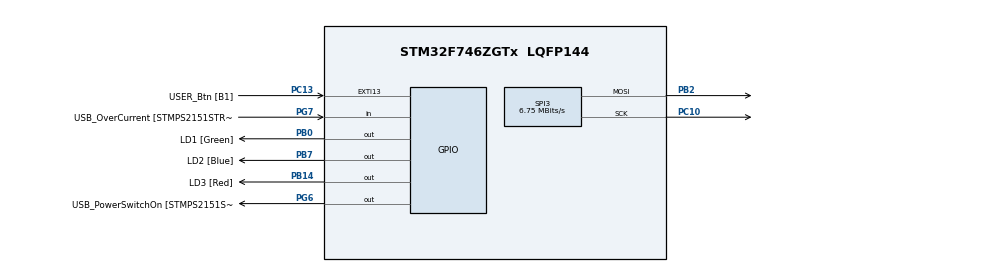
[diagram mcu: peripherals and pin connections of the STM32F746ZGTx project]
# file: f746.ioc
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Mcu.Family=STM32F7
Dma.SPI3_TX.0.FIFOMode=DMA_FIFOMODE_DISABLE
Dma.SPI3_TX.0.Priority=DMA_PRIORITY_LOW
Dma.SPI3_TX.0.MemInc=DMA_MINC_ENABLE
RCC.CortexFreq_Value=216000000
SPI3.Direction=SPI_DIRECTION_2LINES
PC10.GPIO_PuPd=GPIO_NOPULL
SPI3.VirtualType=VM_MASTER
PG6.Signal=GPIO_Output
PC10.Signal=SPI3_SCK
PB14.GPIO_Label=LD3 [Red]
PG6.GPIO_Label=USB_PowerSwitchOn [STMPS2151STR_EN]
PA14.GPIO_Label=TCK
RCC.SYSCLKSourceVirtual=RCC_SYSCLKSOURCE_PLLCLK
CORTEX_M7.PREFETCH_ENABLE=1
PB0.GPIO_Label=LD1 [Green]
Dma.SPI3_TX.0.PeriphDataAlignment=DMA_PDATAALIGN_BYTE
PC13.GPIO_Label=USER_Btn [B1]
PB13.GPIO_Label=RMII_TXD1 [LAN8742A-CZ-TR_TXD1]
PB13.Signal=ETH_TXD1
PG13.Signal=ETH_TXD0
PG11.Signal=ETH_TX_EN
RCC.SYSCLKSource=RCC_SYSCLKSOURCE_PLLCLK
ProjectManager.StackSize=0x4000
PA12.Signal=USB_OTG_FS_DP
SPI3.CLKPolarity=SPI_POLARITY_HIGH
PH0/OSC_IN.Mode=HSE-External-Oscillator
RCC.HCLKFreq_Value=216000000
RCC.APB2TimFreq_Value=216000000
PH1/OSC_OUT.Signal=RCC_OSC_OUT
PD8.Signal=USART3_TX
Dma.SPI3_TX.0.Direction=DMA_MEMORY_TO_PERIPH
RCC.AHBFreq_Value=216000000
SPI3.DataSize=SPI_DATASIZE_8BIT
RCC.HSE_VALUE=8000000
PB2.Signal=SPI3_MOSI
RCC.PLLMUL=RCC_PLL_MUL9
PC4.GPIO_Label=RMII_RXD0 [LAN8742A-CZ-TR_RXD0]
PA10.GPIO_Label=USB_ID
PB7.Signal=GPIO_Output
PA8.Signal=USB_OTG_FS_SOF
VP_FREERTOS_VS_CMSIS_V1.Mode=CMSIS_V1
PH1/OSC_OUT.Mode=HSE-External-Oscillator
PB2.GPIO_PuPd=GPIO_NOPULL
Dma.SPI3_TX.0.MemDataAlignment=DMA_MDATAALIGN_BYTE
PB7.GPIO_Label=LD2 [Blue]
Mcu.Package=LQFP144
NVIC.TimeBase=TIM7_IRQn
SPI3.Mode=SPI_MODE_MASTER
PC14/OSC32_IN.Signal=RCC_OSC32_IN
PA2.GPIO_Label=RMII_MDIO [LAN8742A-CZ-TR_MDIO]
NVIC.TimeBaseIP=TIM7
PA10.Signal=USB_OTG_FS_ID
RCC.APB2CLKDivider=RCC_HCLK_DIV2
RCC.APB1TimFreq_Value=108000000
PG11.GPIO_Label=RMII_TX_EN [LAN8742A-CZ-TR_TXEN]
PC5.Signal=ETH_RXD1
Dma.Request0=SPI3_TX
NVIC.TIM7_IRQn=true\:0\:0\:false\:false\:true\:false\:false\:true
PB3.GPIO_Label=SW0
RCC.PLLSourceVirtual=RCC_PLLSOURCE_HSE
CORTEX_M7.CPU_ICache=Enabled
FREERTOS.Tasks01=defaultTask,0,2048,StartDefaultTask,Default,NULL,Dynamic,NULL,NULL
PG7.Signal=GPIO_Input
PD9.GPIO_Label=STLK_TX [STM32F103CBT6_PA2]
PA9.GPIO_Label=USB_VBUS
PC13.Signal=GPXTI13
VP_SYS_VS_tim7.Mode=TIM7
PC10.Mode=TX_Only_Simplex_Unidirect_Master
PC4.Signal=ETH_RXD0
PA11.GPIO_Label=USB_DM
PD9.Signal=USART3_RX
RCC.APB1CLKDivider=RCC_HCLK_DIV4
PG13.GPIO_Label=RMII_TXD0 [LAN8742A-CZ-TR_TXD0]
PA12.GPIO_Label=USB_DP
PD8.GPIO_Label=STLK_RX [STM32F103CBT6_PA3]
PA13.Signal=SYS_JTMS-SWDIO
PA8.GPIO_Label=USB_SOF [TP1]
ProjectManager.TargetToolchain=STM32CubeIDE
NVIC.DMA1_Stream5_IRQn=true\:5\:0\:false\:false\:true\:true\:false\:true
CORTEX_M7.ART_ACCLERATOR_ENABLE=1
PA9.Signal=USB_OTG_FS_VBUS
Dma.SPI3_TX.0.PeriphInc=DMA_PINC_DISABLE
RCC.USBFreq_Value=48000000
RCC.LSE_VALUE=32768
PA1.Signal=ETH_REF_CLK
SPI3.FirstBit=SPI_FIRSTBIT_MSB
PB14.Signal=GPIO_Output
board=NUCLEO-F746ZG
SPI3.CLKPhase=SPI_PHASE_2EDGE
RCC.VCOOutputFreq_Value=432000000
PH0/OSC_IN.Signal=RCC_OSC_IN
RCC.APB2Freq_Value=108000000
SPI3.CalculateBaudRate=6.75 MBits/s
RCC.PRESCALERUSB=RCC_USBCLKSOURCE_PLL_DIV1_5
PG7.GPIO_Label=USB_OverCurrent [STMPS2151STR_FAULT]
SPI3.BaudRatePrescaler=SPI_BAUDRATEPRESCALER_8
PA1.GPIO_Label=RMII_REF_CLK [LAN8742A-CZ-TR_REFCLK0]
PC1.GPIO_Label=RMII_MDC [LAN8742A-CZ-TR_MDC]
Dma.SPI3_TX.0.Instance=DMA1_Stream5
Mcu.Name=STM32F746ZGTx
PA2.Signal=ETH_MDIO
PA13.GPIO_Label=TMS
RCC.48MHZClocksFreq_Value=24000000
PB3.Signal=SYS_JTDO-SWO
RCC.SYSCLKFreq_VALUE=216000000
PA7.GPIO_Label=RMII_CRS_DV [LAN8742A-CZ-TR_CRS_DV]
Dma.SPI3_TX.0.Mode=DMA_NORMAL
PC5.GPIO_Label=RMII_RXD1 [LAN8742A-CZ-TR_RXD1]
PB2.Mode=TX_Only_Simplex_Unidirect_Master
PA11.Signal=USB_OTG_FS_DM
PA14.Signal=SYS_JTCK-SWCLK
ProjectManager.HeapSize=0x2000
RCC.HSI_VALUE=16000000
PH0/OSC_IN.GPIO_Label=MCO [STM32F103CBT6_PA8]
RCC.PLLQ=9
NVIC.PriorityGroup=NVIC_PRIORITYGROUP_4
RCC.PLLM=4
RCC.PLLN=216
PC15/OSC32_OUT.Signal=RCC_OSC32_OUT
CORTEX_M7.CPU_DCache=Enabled
RCC.APB1Freq_Value=54000000
PB0.Signal=GPIO_Output
PC1.Signal=ETH_MDC
PA7.Signal=ETH_CRS_DV

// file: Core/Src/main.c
/* USER CODE BEGIN Header */
/**
 ******************************************************************************
 * @file           : main.c
 * @brief          : Main program body
 ******************************************************************************
 * @attention
 *
 * <h2><center>&copy; Copyright (c) 2021 STMicroelectronics.
 * All rights reserved.</center></h2>
 *
 * This software component is licensed by ST under BSD 3-Clause license,
 * the "License"; You may not use this file except in compliance with the
 * License. You may obtain a copy of the License at:
 *                        opensource.org/licenses/BSD-3-Clause
 *
 ******************************************************************************
 */
/* USER CODE END Header */
#include "main.h"
#include "cmsis_os.h"

/* USER CODE BEGIN Includes */
#include <string.h>
/* USER CODE END Includes */

osThreadId defaultTaskHandle;

void SystemClock_Config(void);
static void MX_GPIO_Init(void);
static void MX_DMA_Init(void);
static void MX_SPI3_Init(void);
void StartDefaultTask(void const *argument);

int main(void)
{

    /* Enable I-Cache---------------------------------------------------------*/
    SCB_EnableICache();

    /* Enable D-Cache---------------------------------------------------------*/
    SCB_EnableDCache();

    /* MCU Configuration--------------------------------------------------------*/

    /* Reset of all peripherals, Initializes the Flash interface and the Systick. */
    HAL_Init();

    /* Configure the system clock */
    SystemClock_Config();

    /* Initialize all configured peripherals */
    MX_GPIO_Init();
    MX_DMA_Init();
    MX_SPI3_Init();

    /* Create the thread(s) */
    /* definition and creation of defaultTask */
    osThreadDef(defaultTask, StartDefaultTask, osPriorityNormal, 0, 2048);
    defaultTaskHandle = osThreadCreate(osThread(defaultTask), NULL);

    /* Start scheduler */
    osKernelStart();

    /* We should never get here as control is now taken by the scheduler */
    /* Infinite loop */
    while (1)
    {

    }
}

void SystemClock_Config(void)
{
    LL_FLASH_SetLatency(LL_FLASH_LATENCY_7);
    while (LL_FLASH_GetLatency() != LL_FLASH_LATENCY_7)
    {
    }
    LL_PWR_SetRegulVoltageScaling(LL_PWR_REGU_VOLTAGE_SCALE1);
    LL_PWR_EnableOverDriveMode();
    LL_RCC_HSE_Enable();

    /* Wait till HSE is ready */
    while (LL_RCC_HSE_IsReady() != 1)
    {
    }
    LL_RCC_PLL_ConfigDomain_SYS(LL_RCC_PLLSOURCE_HSE, LL_RCC_PLLM_DIV_4, 216, LL_RCC_PLLP_DIV_2);
    LL_RCC_PLL_Enable();

    /* Wait till PLL is ready */
    while (LL_RCC_PLL_IsReady() != 1)
    {
    }
    LL_RCC_SetAHBPrescaler(LL_RCC_SYSCLK_DIV_1);
    LL_RCC_SetAPB1Prescaler(LL_RCC_APB1_DIV_4);
    LL_RCC_SetAPB2Prescaler(LL_RCC_APB2_DIV_2);
    LL_RCC_SetSysClkSource(LL_RCC_SYS_CLKSOURCE_PLL);

    /* Wait till System clock is ready */
    while (LL_RCC_GetSysClkSource() != LL_RCC_SYS_CLKSOURCE_STATUS_PLL)
    {
    }
    LL_SetSystemCoreClock(216000000);

    /* Update the time base */
    if (HAL_InitTick(TICK_INT_PRIORITY) != HAL_OK)
    {
        Error_Handler();
    }
}

static void MX_SPI3_Init(void)
{

    LL_SPI_InitTypeDef SPI_InitStruct = {0};

    LL_GPIO_InitTypeDef GPIO_InitStruct = {0};

    /* Peripheral clock enable */
    LL_APB1_GRP1_EnableClock(LL_APB1_GRP1_PERIPH_SPI3);

    LL_AHB1_GRP1_EnableClock(LL_AHB1_GRP1_PERIPH_GPIOB);
    LL_AHB1_GRP1_EnableClock(LL_AHB1_GRP1_PERIPH_GPIOC);
    /**SPI3 GPIO Configuration
     PB2   ------> SPI3_MOSI
     PC10   ------> SPI3_SCK
     */
    GPIO_InitStruct.Pin = LL_GPIO_PIN_2;
    GPIO_InitStruct.Mode = LL_GPIO_MODE_ALTERNATE;
    GPIO_InitStruct.Speed = LL_GPIO_SPEED_FREQ_VERY_HIGH;
    GPIO_InitStruct.OutputType = LL_GPIO_OUTPUT_PUSHPULL;
    GPIO_InitStruct.Pull = LL_GPIO_PULL_NO;
    GPIO_InitStruct.Alternate = LL_GPIO_AF_7;
    LL_GPIO_Init(GPIOB, &GPIO_InitStruct);

    GPIO_InitStruct.Pin = LL_GPIO_PIN_10;
    GPIO_InitStruct.Mode = LL_GPIO_MODE_ALTERNATE;
    GPIO_InitStruct.Speed = LL_GPIO_SPEED_FREQ_VERY_HIGH;
    GPIO_InitStruct.OutputType = LL_GPIO_OUTPUT_PUSHPULL;
    GPIO_InitStruct.Pull = LL_GPIO_PULL_NO;
    GPIO_InitStruct.Alternate = LL_GPIO_AF_6;
    LL_GPIO_Init(GPIOC, &GPIO_InitStruct);

    /* SPI3 DMA Init */

    /* SPI3_TX Init */
    LL_DMA_SetChannelSelection(DMA1, LL_DMA_STREAM_5, LL_DMA_CHANNEL_0);

    LL_DMA_SetDataTransferDirection(DMA1, LL_DMA_STREAM_5, LL_DMA_DIRECTION_MEMORY_TO_PERIPH);

    LL_DMA_SetStreamPriorityLevel(DMA1, LL_DMA_STREAM_5, LL_DMA_PRIORITY_LOW);

    LL_DMA_SetMode(DMA1, LL_DMA_STREAM_5, LL_DMA_MODE_NORMAL);

    LL_DMA_SetPeriphIncMode(DMA1, LL_DMA_STREAM_5, LL_DMA_PERIPH_NOINCREMENT);

    LL_DMA_SetMemoryIncMode(DMA1, LL_DMA_STREAM_5, LL_DMA_MEMORY_INCREMENT);

    LL_DMA_SetPeriphSize(DMA1, LL_DMA_STREAM_5, LL_DMA_PDATAALIGN_BYTE);

    LL_DMA_SetMemorySize(DMA1, LL_DMA_STREAM_5, LL_DMA_MDATAALIGN_BYTE);

    LL_DMA_DisableFifoMode(DMA1, LL_DMA_STREAM_5);

    /* SPI3 parameter configuration*/
    SPI_InitStruct.TransferDirection = LL_SPI_FULL_DUPLEX;
    SPI_InitStruct.Mode = LL_SPI_MODE_MASTER;
    SPI_InitStruct.DataWidth = LL_SPI_DATAWIDTH_8BIT;
    SPI_InitStruct.ClockPolarity = LL_SPI_POLARITY_HIGH;
    SPI_InitStruct.ClockPhase = LL_SPI_PHASE_2EDGE;
    SPI_InitStruct.NSS = LL_SPI_NSS_SOFT;
    SPI_InitStruct.BaudRate = LL_SPI_BAUDRATEPRESCALER_DIV8;
    SPI_InitStruct.BitOrder = LL_SPI_MSB_FIRST;
    SPI_InitStruct.CRCCalculation = LL_SPI_CRCCALCULATION_DISABLE;
    SPI_InitStruct.CRCPoly = 7;
    LL_SPI_Init(SPI3, &SPI_InitStruct);
    LL_SPI_SetStandard(SPI3, LL_SPI_PROTOCOL_MOTOROLA);
    LL_SPI_DisableNSSPulseMgt(SPI3);
}

static void MX_DMA_Init(void)
{

    /* Init with LL driver */
    /* DMA controller clock enable */
    LL_AHB1_GRP1_EnableClock(LL_AHB1_GRP1_PERIPH_DMA1);

    /* DMA interrupt init */
    /* DMA1_Stream5_IRQn interrupt configuration */
    NVIC_SetPriority(DMA1_Stream5_IRQn, NVIC_EncodePriority(NVIC_GetPriorityGrouping(), 5, 0));
    NVIC_EnableIRQ(DMA1_Stream5_IRQn);
}

static void MX_GPIO_Init(void)
{
    LL_EXTI_InitTypeDef EXTI_InitStruct = {0};
    LL_GPIO_InitTypeDef GPIO_InitStruct = {0};

    /* GPIO Ports Clock Enable */
    LL_AHB1_GRP1_EnableClock(LL_AHB1_GRP1_PERIPH_GPIOC);
    LL_AHB1_GRP1_EnableClock(LL_AHB1_GRP1_PERIPH_GPIOH);
    LL_AHB1_GRP1_EnableClock(LL_AHB1_GRP1_PERIPH_GPIOA);
    LL_AHB1_GRP1_EnableClock(LL_AHB1_GRP1_PERIPH_GPIOB);
    LL_AHB1_GRP1_EnableClock(LL_AHB1_GRP1_PERIPH_GPIOD);
    LL_AHB1_GRP1_EnableClock(LL_AHB1_GRP1_PERIPH_GPIOG);

    /**/
    LL_GPIO_ResetOutputPin(LD1_GPIO_Port, LD1_Pin);

    /**/
    LL_GPIO_ResetOutputPin(LD3_GPIO_Port, LD3_Pin);

    /**/
    LL_GPIO_ResetOutputPin(USB_PowerSwitchOn_GPIO_Port, USB_PowerSwitchOn_Pin);

    /**/
    LL_GPIO_ResetOutputPin(LD2_GPIO_Port, LD2_Pin);

    /**/
    LL_SYSCFG_SetEXTISource(LL_SYSCFG_EXTI_PORTC, LL_SYSCFG_EXTI_LINE13);

    /**/
    EXTI_InitStruct.Line_0_31 = LL_EXTI_LINE_13;
    EXTI_InitStruct.LineCommand = ENABLE;
    EXTI_InitStruct.Mode = LL_EXTI_MODE_IT;
    EXTI_InitStruct.Trigger = LL_EXTI_TRIGGER_RISING;
    LL_EXTI_Init(&EXTI_InitStruct);

    /**/
    LL_GPIO_SetPinPull(USER_Btn_GPIO_Port, USER_Btn_Pin, LL_GPIO_PULL_NO);

    /**/
    LL_GPIO_SetPinMode(USER_Btn_GPIO_Port, USER_Btn_Pin, LL_GPIO_MODE_INPUT);

    /**/
    GPIO_InitStruct.Pin = RMII_MDC_Pin;
    GPIO_InitStruct.Mode = LL_GPIO_MODE_ALTERNATE;
    GPIO_InitStruct.Speed = LL_GPIO_SPEED_FREQ_VERY_HIGH;
    GPIO_InitStruct.OutputType = LL_GPIO_OUTPUT_PUSHPULL;
    GPIO_InitStruct.Pull = LL_GPIO_PULL_NO;
    GPIO_InitStruct.Alternate = LL_GPIO_AF_11;
    LL_GPIO_Init(RMII_MDC_GPIO_Port, &GPIO_InitStruct);

    /**/
    GPIO_InitStruct.Pin = RMII_REF_CLK_Pin;
    GPIO_InitStruct.Mode = LL_GPIO_MODE_ALTERNATE;
    GPIO_InitStruct.Speed = LL_GPIO_SPEED_FREQ_VERY_HIGH;
    GPIO_InitStruct.OutputType = LL_GPIO_OUTPUT_PUSHPULL;
    GPIO_InitStruct.Pull = LL_GPIO_PULL_NO;
    GPIO_InitStruct.Alternate = LL_GPIO_AF_11;
    LL_GPIO_Init(RMII_REF_CLK_GPIO_Port, &GPIO_InitStruct);

    /**/
    GPIO_InitStruct.Pin = RMII_MDIO_Pin;
    GPIO_InitStruct.Mode = LL_GPIO_MODE_ALTERNATE;
    GPIO_InitStruct.Speed = LL_GPIO_SPEED_FREQ_VERY_HIGH;
    GPIO_InitStruct.OutputType = LL_GPIO_OUTPUT_PUSHPULL;
    GPIO_InitStruct.Pull = LL_GPIO_PULL_NO;
    GPIO_InitStruct.Alternate = LL_GPIO_AF_11;
    LL_GPIO_Init(RMII_MDIO_GPIO_Port, &GPIO_InitStruct);

    /**/
    GPIO_InitStruct.Pin = RMII_CRS_DV_Pin;
    GPIO_InitStruct.Mode = LL_GPIO_MODE_ALTERNATE;
    GPIO_InitStruct.Speed = LL_GPIO_SPEED_FREQ_VERY_HIGH;
    GPIO_InitStruct.OutputType = LL_GPIO_OUTPUT_PUSHPULL;
    GPIO_InitStruct.Pull = LL_GPIO_PULL_NO;
    GPIO_InitStruct.Alternate = LL_GPIO_AF_11;
    LL_GPIO_Init(RMII_CRS_DV_GPIO_Port, &GPIO_InitStruct);

    /**/
    GPIO_InitStruct.Pin = RMII_RXD0_Pin;
    GPIO_InitStruct.Mode = LL_GPIO_MODE_ALTERNATE;
    GPIO_InitStruct.Speed = LL_GPIO_SPEED_FREQ_VERY_HIGH;
    GPIO_InitStruct.OutputType = LL_GPIO_OUTPUT_PUSHPULL;
    GPIO_InitStruct.Pull = LL_GPIO_PULL_NO;
    GPIO_InitStruct.Alternate = LL_GPIO_AF_11;
    LL_GPIO_Init(RMII_RXD0_GPIO_Port, &GPIO_InitStruct);

    /**/
    GPIO_InitStruct.Pin = RMII_RXD1_Pin;
    GPIO_InitStruct.Mode = LL_GPIO_MODE_ALTERNATE;
    GPIO_InitStruct.Speed = LL_GPIO_SPEED_FREQ_VERY_HIGH;
    GPIO_InitStruct.OutputType = LL_GPIO_OUTPUT_PUSHPULL;
    GPIO_InitStruct.Pull = LL_GPIO_PULL_NO;
    GPIO_InitStruct.Alternate = LL_GPIO_AF_11;
    LL_GPIO_Init(RMII_RXD1_GPIO_Port, &GPIO_InitStruct);

    /**/
    GPIO_InitStruct.Pin = LD1_Pin;
    GPIO_InitStruct.Mode = LL_GPIO_MODE_OUTPUT;
    GPIO_InitStruct.Speed = LL_GPIO_SPEED_FREQ_LOW;
    GPIO_InitStruct.OutputType = LL_GPIO_OUTPUT_PUSHPULL;
    GPIO_InitStruct.Pull = LL_GPIO_PULL_NO;
    LL_GPIO_Init(LD1_GPIO_Port, &GPIO_InitStruct);

    /**/
    GPIO_InitStruct.Pin = RMII_TXD1_Pin;
    GPIO_InitStruct.Mode = LL_GPIO_MODE_ALTERNATE;
    GPIO_InitStruct.Speed = LL_GPIO_SPEED_FREQ_VERY_HIGH;
    GPIO_InitStruct.OutputType = LL_GPIO_OUTPUT_PUSHPULL;
    GPIO_InitStruct.Pull = LL_GPIO_PULL_NO;
    GPIO_InitStruct.Alternate = LL_GPIO_AF_11;
    LL_GPIO_Init(RMII_TXD1_GPIO_Port, &GPIO_InitStruct);

    /**/
    GPIO_InitStruct.Pin = LD3_Pin;
    GPIO_InitStruct.Mode = LL_GPIO_MODE_OUTPUT;
    GPIO_InitStruct.Speed = LL_GPIO_SPEED_FREQ_LOW;
    GPIO_InitStruct.OutputType = LL_GPIO_OUTPUT_PUSHPULL;
    GPIO_InitStruct.Pull = LL_GPIO_PULL_NO;
    LL_GPIO_Init(LD3_GPIO_Port, &GPIO_InitStruct);

    /**/
    GPIO_InitStruct.Pin = STLK_RX_Pin;
    GPIO_InitStruct.Mode = LL_GPIO_MODE_ALTERNATE;
    GPIO_InitStruct.Speed = LL_GPIO_SPEED_FREQ_VERY_HIGH;
    GPIO_InitStruct.OutputType = LL_GPIO_OUTPUT_PUSHPULL;
    GPIO_InitStruct.Pull = LL_GPIO_PULL_NO;
    GPIO_InitStruct.Alternate = LL_GPIO_AF_7;
    LL_GPIO_Init(STLK_RX_GPIO_Port, &GPIO_InitStruct);

    /**/
    GPIO_InitStruct.Pin = STLK_TX_Pin;
    GPIO_InitStruct.Mode = LL_GPIO_MODE_ALTERNATE;
    GPIO_InitStruct.Speed = LL_GPIO_SPEED_FREQ_VERY_HIGH;
    GPIO_InitStruct.OutputType = LL_GPIO_OUTPUT_PUSHPULL;
    GPIO_InitStruct.Pull = LL_GPIO_PULL_NO;
    GPIO_InitStruct.Alternate = LL_GPIO_AF_7;
    LL_GPIO_Init(STLK_TX_GPIO_Port, &GPIO_InitStruct);

    /**/
    GPIO_InitStruct.Pin = USB_PowerSwitchOn_Pin;
    GPIO_InitStruct.Mode = LL_GPIO_MODE_OUTPUT;
    GPIO_InitStruct.Speed = LL_GPIO_SPEED_FREQ_LOW;
    GPIO_InitStruct.OutputType = LL_GPIO_OUTPUT_PUSHPULL;
    GPIO_InitStruct.Pull = LL_GPIO_PULL_NO;
    LL_GPIO_Init(USB_PowerSwitchOn_GPIO_Port, &GPIO_InitStruct);

    /**/
    GPIO_InitStruct.Pin = USB_OverCurrent_Pin;
    GPIO_InitStruct.Mode = LL_GPIO_MODE_INPUT;
    GPIO_InitStruct.Pull = LL_GPIO_PULL_NO;
    LL_GPIO_Init(USB_OverCurrent_GPIO_Port, &GPIO_InitStruct);

    /**/
    GPIO_InitStruct.Pin = USB_SOF_Pin;
    GPIO_InitStruct.Mode = LL_GPIO_MODE_ALTERNATE;
    GPIO_InitStruct.Speed = LL_GPIO_SPEED_FREQ_VERY_HIGH;
    GPIO_InitStruct.OutputType = LL_GPIO_OUTPUT_PUSHPULL;
    GPIO_InitStruct.Pull = LL_GPIO_PULL_NO;
    GPIO_InitStruct.Alternate = LL_GPIO_AF_10;
    LL_GPIO_Init(USB_SOF_GPIO_Port, &GPIO_InitStruct);

    /**/
    GPIO_InitStruct.Pin = USB_VBUS_Pin;
    GPIO_InitStruct.Mode = LL_GPIO_MODE_INPUT;
    GPIO_InitStruct.Pull = LL_GPIO_PULL_NO;
    LL_GPIO_Init(USB_VBUS_GPIO_Port, &GPIO_InitStruct);

    /**/
    GPIO_InitStruct.Pin = USB_ID_Pin;
    GPIO_InitStruct.Mode = LL_GPIO_MODE_ALTERNATE;
    GPIO_InitStruct.Speed = LL_GPIO_SPEED_FREQ_VERY_HIGH;
    GPIO_InitStruct.OutputType = LL_GPIO_OUTPUT_PUSHPULL;
    GPIO_InitStruct.Pull = LL_GPIO_PULL_NO;
    GPIO_InitStruct.Alternate = LL_GPIO_AF_10;
    LL_GPIO_Init(USB_ID_GPIO_Port, &GPIO_InitStruct);

    /**/
    GPIO_InitStruct.Pin = USB_DM_Pin;
    GPIO_InitStruct.Mode = LL_GPIO_MODE_ALTERNATE;
    GPIO_InitStruct.Speed = LL_GPIO_SPEED_FREQ_VERY_HIGH;
    GPIO_InitStruct.OutputType = LL_GPIO_OUTPUT_PUSHPULL;
    GPIO_InitStruct.Pull = LL_GPIO_PULL_NO;
    GPIO_InitStruct.Alternate = LL_GPIO_AF_10;
    LL_GPIO_Init(USB_DM_GPIO_Port, &GPIO_InitStruct);

    /**/
    GPIO_InitStruct.Pin = USB_DP_Pin;
    GPIO_InitStruct.Mode = LL_GPIO_MODE_ALTERNATE;
    GPIO_InitStruct.Speed = LL_GPIO_SPEED_FREQ_VERY_HIGH;
    GPIO_InitStruct.OutputType = LL_GPIO_OUTPUT_PUSHPULL;
    GPIO_InitStruct.Pull = LL_GPIO_PULL_NO;
    GPIO_InitStruct.Alternate = LL_GPIO_AF_10;
    LL_GPIO_Init(USB_DP_GPIO_Port, &GPIO_InitStruct);

    /**/
    GPIO_InitStruct.Pin = RMII_TX_EN_Pin;
    GPIO_InitStruct.Mode = LL_GPIO_MODE_ALTERNATE;
    GPIO_InitStruct.Speed = LL_GPIO_SPEED_FREQ_VERY_HIGH;
    GPIO_InitStruct.OutputType = LL_GPIO_OUTPUT_PUSHPULL;
    GPIO_InitStruct.Pull = LL_GPIO_PULL_NO;
    GPIO_InitStruct.Alternate = LL_GPIO_AF_11;
    LL_GPIO_Init(RMII_TX_EN_GPIO_Port, &GPIO_InitStruct);

    /**/
    GPIO_InitStruct.Pin = RMII_TXD0_Pin;
    GPIO_InitStruct.Mode = LL_GPIO_MODE_ALTERNATE;
    GPIO_InitStruct.Speed = LL_GPIO_SPEED_FREQ_VERY_HIGH;
    GPIO_InitStruct.OutputType = LL_GPIO_OUTPUT_PUSHPULL;
    GPIO_InitStruct.Pull = LL_GPIO_PULL_NO;
    GPIO_InitStruct.Alternate = LL_GPIO_AF_11;
    LL_GPIO_Init(RMII_TXD0_GPIO_Port, &GPIO_InitStruct);

    /**/
    GPIO_InitStruct.Pin = LD2_Pin;
    GPIO_InitStruct.Mode = LL_GPIO_MODE_OUTPUT;
    GPIO_InitStruct.Speed = LL_GPIO_SPEED_FREQ_LOW;
    GPIO_InitStruct.OutputType = LL_GPIO_OUTPUT_PUSHPULL;
    GPIO_InitStruct.Pull = LL_GPIO_PULL_NO;
    LL_GPIO_Init(LD2_GPIO_Port, &GPIO_InitStruct);
}

/* USER CODE BEGIN 4 */
void SpiTxIrq()
{
    if (LL_DMA_IsActiveFlag_TC5(DMA1) == 1)
    {
        LL_DMA_ClearFlag_TC5(DMA1);
        osSignalSet(defaultTaskHandle, 1);
    }
}
/// @brief NeoPixelのPWMデータへ変換
/// @param[in] src 色データ
/// @param[in] count LED数
/// @param[out] buffer PWMデータ
void convert(uint8_t const *rgb, uint32_t count, uint8_t *buffer)
{
#define NEO_0 0b11100000
#define NEO_1 0b11111000
    uint8_t *p = buffer;
    for (uint32_t i = 0; i < count; ++i)
    {
        for (uint32_t j = 0; j < 3; ++j)
        {
            const uint8_t c = rgb[j];
            *(p++) = (c & 0x80) ? NEO_1 : NEO_0;
            *(p++) = (c & 0x40) ? NEO_1 : NEO_0;
            *(p++) = (c & 0x20) ? NEO_1 : NEO_0;
            *(p++) = (c & 0x10) ? NEO_1 : NEO_0;
            *(p++) = (c & 0x08) ? NEO_1 : NEO_0;
            *(p++) = (c & 0x04) ? NEO_1 : NEO_0;
            *(p++) = (c & 0x02) ? NEO_1 : NEO_0;
            *(p++) = (c & 0x01) ? NEO_1 : NEO_0;
        }
    }
#undef NEO_1
#undef NEO_0
}
/* USER CODE END 4 */

void StartDefaultTask(void const *argument)
{
    /* USER CODE BEGIN 5 */
#define N 24
    LL_SPI_Enable(SPI3);
    const uint8_t c0[3] = {0x00 /*green*/, 0x10 /*red*/, 0x10 /*blue*/};
    const uint8_t c1[3] = {0x10 /*green*/, 0x10 /*red*/, 0x00 /*blue*/};
    const uint8_t c2[3] = {0x10 /*green*/, 0x00 /*red*/, 0x10 /*blue*/};
    uint8_t buffer[(N * 3) * 8] = {0};
    LL_DMA_ConfigAddresses(DMA1, LL_DMA_STREAM_5, (uint32_t)&buffer, LL_SPI_DMA_GetRegAddr(SPI3), LL_DMA_DIRECTION_MEMORY_TO_PERIPH);
    LL_DMA_EnableIT_TC(DMA1, LL_DMA_STREAM_5);
    LL_DMA_SetDataLength(DMA1, LL_DMA_STREAM_5, sizeof(buffer));
    LL_SPI_EnableDMAReq_TX(SPI3);
    /* Infinite loop */
    for (int i = 0;; i = (i + 1) % 3)
    {
        switch (i)
        {
        case 0:
            convert(c0, N / 3, &buffer[0 * N * 8]);
            convert(c1, N / 3, &buffer[1 * N * 8]);
            convert(c2, N / 3, &buffer[2 * N * 8]);
            break;
        case 1:
            convert(c1, N / 3, &buffer[0 * N * 8]);
            convert(c2, N / 3, &buffer[1 * N * 8]);
            convert(c0, N / 3, &buffer[2 * N * 8]);
            break;
        case 2:
            convert(c2, N / 3, &buffer[0 * N * 8]);
            convert(c0, N / 3, &buffer[1 * N * 8]);
            convert(c1, N / 3, &buffer[2 * N * 8]);
            break;
        }
        LL_DMA_EnableStream(DMA1, LL_DMA_STREAM_5);
        osSignalWait(1, 1000);
        LL_GPIO_TogglePin(LD1_GPIO_Port, LD1_Pin);
        LL_GPIO_TogglePin(LD2_GPIO_Port, LD2_Pin);
        LL_GPIO_TogglePin(LD3_GPIO_Port, LD3_Pin);
        osDelay(500);
    }
    /* USER CODE END 5 */
}

void HAL_TIM_PeriodElapsedCallback(TIM_HandleTypeDef *htim)
{
    if (htim->Instance == TIM7)
    {
        HAL_IncTick();
    }
}

void Error_Handler(void)
{
    __disable_irq();
    while (1)
    {
    }
}

/************************ (C) COPYRIGHT STMicroelectronics *****END OF FILE****/
